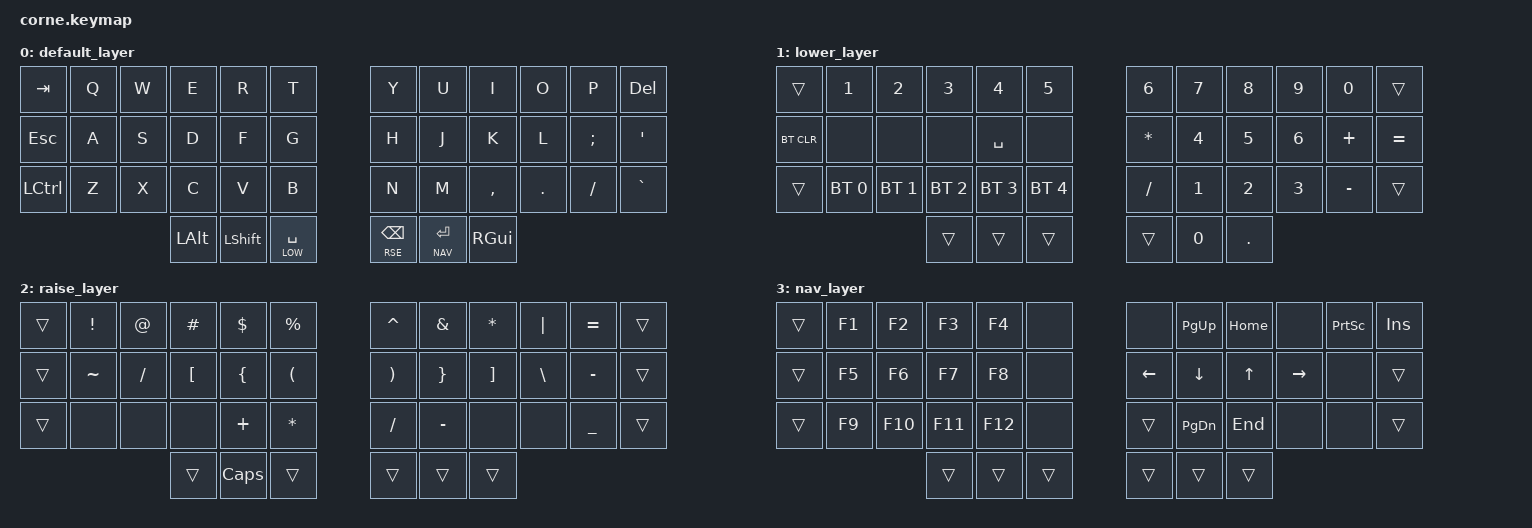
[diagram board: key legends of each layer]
/*
 * Copyright (c) 2020 The ZMK Contributors
 *
 * SPDX-License-Identifier: MIT
 */

#include <behaviors.dtsi>
#include <dt-bindings/zmk/keys.h>
#include <dt-bindings/zmk/bt.h>

#define LOW 1
#define RSE 2 
#define NAV 3
&lt {
    tapping-term-ms = <150>;
};

/ {
        keymap {
                compatible = "zmk,keymap";

                default_layer {
// -----------------------------------------------------------------------------------------
// |  TAB  |  Q  |  W  |  E  |   R   |    T    |   |     Y    |     U   |  I  |  O  |  P  |  DEL |
// |  ESC  |  A  |  S  |  D  |   F   |    G    |   |     H    |     J   |  K  |  L  |  ;  |  '   |
// | LCTRL |  Z  |  X  |  C  |   V   |    B    |   |     N    |     M   |  ,  |  .  |  /  |  `   |
//                     | ALT |  SHFT | LOW/SPC |   | RSE/BKSP | NAV/RET | GUI |
                        bindings = <
   &kp TAB   &kp Q &kp W &kp E     &kp R      &kp T           &kp Y        &kp U       &kp I     &kp O   &kp P    &kp DEL
   &kp ESC   &kp A &kp S &kp D     &kp F      &kp G           &kp H        &kp J       &kp K     &kp L   &kp SEMI &kp SQT
   &kp LCTRL &kp Z &kp X &kp C     &kp V      &kp B           &kp N        &kp M       &kp COMMA &kp DOT &kp FSLH &kp GRAVE
                         &kp LALT  &kp LSHFT  &lt LOW SPACE   &lt RSE BSPC &lt NAV RET &kp RGUI 
                        >;
                };
                lower_layer { // glorified numpad. redundant space just for convenience
// -----------------------------------------------------------------------------------------
// |       |  1  |  2  |  3  |  4  |  5  |   |  6  |  7  |  8  |  9  |  0  |     |
// | BTCLR |     |     |     | SPC |     |   |  *  |  4  |  5  |  6  |  +  |  =  |
// |       | BT1 | BT2 | BT3 | BT4 | BT5 |   |  /  |  1  |  2  |  3  |  -  |     |
//                     |     |     |     |   |     |  0  |  .  |
                        bindings = <
   &trans     &kp N1       &kp N2       &kp N3       &kp N4       &kp N5         &kp N6    &kp N7  &kp N8 &kp N9 &kp N0    &trans
   &bt BT_CLR &none        &none        &none        &kp SPACE    &none          &kp ASTRK &kp N4  &kp N5 &kp N6 &kp PLUS  &kp EQUAL 
   &trans     &bt BT_SEL 0 &bt BT_SEL 1 &bt BT_SEL 2 &bt BT_SEL 3 &bt BT_SEL 4   &kp FSLH  &kp N1  &kp N2 &kp N3 &kp MINUS &trans 
                                        &trans       &trans       &trans         &trans    &kp N0  &kp DOT
                        >;
                };

                raise_layer { // symbols, no backspace since we can just leave layer
// -----------------------------------------------------------------------------------------
// |     |  !  |  @  |  #  |  $   |  %  |   |  ^  |  &  |  *  |  |  |  =  |     |
// |     |  ~  |  /  |  [  |  {   |  (  |   |  )  |  }  |  ]  |  \  |  -  |     |
// |     |     |     |     |  +   |  *  |   |  /  |  -  |     |     |  _  |     |
//                   |     | CAPS |     |   |     |     |     |
                        bindings = <
   &trans &kp EXCL  &kp AT   &kp HASH &kp DLLR &kp PRCNT   &kp CARET &kp AMPS  &kp ASTRK &kp PIPE &kp EQUAL &trans
   &trans &kp TILDE &kp FSLH &kp LBKT &kp LBRC &kp LPAR    &kp RPAR  &kp RBRC  &kp RBKT  &kp BSLH &kp MINUS &trans
   &trans &none     &none    &none    &kp PLUS &kp ASTRK   &kp FSLH  &kp MINUS &none     &none    &kp UNDER &trans
                             &trans   &kp CAPS &trans      &trans    &trans    &trans
                        >;
                };

                nav_layer { // the extras
// -----------------------------------------------------------------------------------------
// |      | F1 | F2  | F3  | F4  |     |   |     | PgUp | HOME |     | PSCRN | INS |
// |      | F5 | F6  | F7  | F8  |     |   | LFT | DWN  |  UP  | RGT |       |     |
// |      | F9 | F10 | F11 | F12 |     |   |     | PgDn | END  |     |       |     |
//                   |     |     |     |   |     |      |      |                  
                        bindings = <
   &trans   &kp F1 &kp F2  &kp F3  &kp F4    &none    &none     &kp PG_UP &kp HOME &none     &kp PSCRN &kp INS
   &trans   &kp F5 &kp F6  &kp F7  &kp F8    &none    &kp LEFT  &kp DOWN  &kp UP   &kp RIGHT &none     &trans
   &trans   &kp F9 &kp F10 &kp F11 &kp F12   &none    &trans    &kp PG_DN &kp END  &none     &none     &trans
                           &trans  &trans    &trans   &trans    &trans    &trans 
                        >;
                };
        };
};
